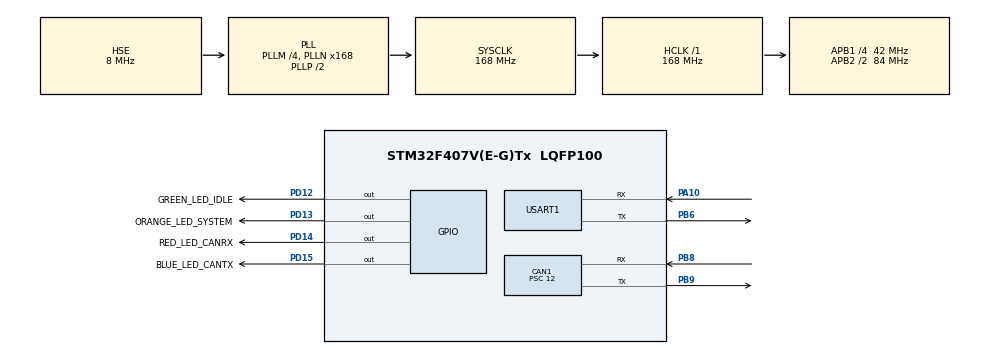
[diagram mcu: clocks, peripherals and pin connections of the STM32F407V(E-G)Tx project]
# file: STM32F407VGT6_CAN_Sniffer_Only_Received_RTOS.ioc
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CAN1.BS1=CAN_BS1_11TQ
CAN1.BS2=CAN_BS2_2TQ
CAN1.CalculateBaudRate=250000
CAN1.CalculateTimeBit=4000
CAN1.CalculateTimeQuantum=285.7142857142857
CAN1.Prescaler=12
FREERTOS.INCLUDE_vTaskDelayUntil=1
FREERTOS.Tasks01=defaultTask,0,128,StartDefaultTask,Default,NULL,Dynamic,NULL,NULL
Mcu.Family=STM32F4
Mcu.Name=STM32F407V(E-G)Tx
Mcu.Package=LQFP100
NVIC.CAN1_RX0_IRQn=true\:5\:0\:false\:false\:true\:true\:true\:true\:true
NVIC.PriorityGroup=NVIC_PRIORITYGROUP_4
NVIC.TIM6_DAC_IRQn=true\:0\:0\:false\:false\:true\:false\:false\:true\:true
NVIC.TimeBase=TIM6_DAC_IRQn
NVIC.TimeBaseIP=TIM6
NVIC.USART1_IRQn=true\:5\:0\:false\:false\:true\:true\:true\:true\:true
PA10.Mode=Asynchronous
PA10.Signal=USART1_RX
PA13.Mode=Serial_Wire
PA13.Signal=SYS_JTMS-SWDIO
PA14.Mode=Serial_Wire
PA14.Signal=SYS_JTCK-SWCLK
PB6.Mode=Asynchronous
PB6.Signal=USART1_TX
PB8.Mode=CAN_Activate
PB8.Signal=CAN1_RX
PB9.Mode=CAN_Activate
PB9.Signal=CAN1_TX
PD12.GPIO_Label=GREEN_LED_IDLE
PD12.Signal=GPIO_Output
PD13.GPIO_Label=ORANGE_LED_SYSTEM
PD13.PinState=GPIO_PIN_RESET
PD13.Signal=GPIO_Output
PD14.GPIO_Label=RED_LED_CANRX
PD14.Signal=GPIO_Output
PD15.GPIO_Label=BLUE_LED_CANTX
PD15.Signal=GPIO_Output
PH0-OSC_IN.Mode=HSE-External-Oscillator
PH0-OSC_IN.Signal=RCC_OSC_IN
PH1-OSC_OUT.Mode=HSE-External-Oscillator
PH1-OSC_OUT.Signal=RCC_OSC_OUT
ProjectManager.HeapSize=0x200
ProjectManager.StackSize=0x400
ProjectManager.TargetToolchain=STM32CubeIDE
RCC.48MHZClocksFreq_Value=84000000
RCC.AHBFreq_Value=168000000
RCC.APB1CLKDivider=RCC_HCLK_DIV4
RCC.APB1Freq_Value=42000000
RCC.APB1TimFreq_Value=84000000
RCC.APB2CLKDivider=RCC_HCLK_DIV2
RCC.APB2Freq_Value=84000000
RCC.APB2TimFreq_Value=168000000
RCC.CortexFreq_Value=168000000
RCC.HCLKFreq_Value=168000000
RCC.HSE_VALUE=8000000
RCC.HSI_VALUE=16000000
RCC.LSE_VALUE=32768
RCC.PLLM=4
RCC.PLLN=168
RCC.PLLSourceVirtual=RCC_PLLSOURCE_HSE
RCC.SYSCLKFreq_VALUE=168000000
RCC.SYSCLKSource=RCC_SYSCLKSOURCE_PLLCLK
RCC.VCOOutputFreq_Value=336000000
TIM1.Period=1000
TIM1.Prescaler=83
USART1.VirtualMode=VM_ASYNC
VP_FREERTOS_VS_CMSIS_V1.Mode=CMSIS_V1
VP_SYS_VS_tim6.Mode=TIM6
VP_TIM1_VS_ClockSourceINT.Mode=Internal
board=custom

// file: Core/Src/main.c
/* USER CODE BEGIN Header */
/**
 ******************************************************************************
 * @file           : main.c
 * @brief          : Main program body
 ******************************************************************************
 * @attention
 *
 * <h2><center>&copy; Copyright (c) 2021 STMicroelectronics.
 * All rights reserved.</center></h2>
 *
 * This software component is licensed by ST under BSD 3-Clause license,
 * the "License"; You may not use this file except in compliance with the
 * License. You may obtain a copy of the License at:
 *                        opensource.org/licenses/BSD-3-Clause
 *
 ******************************************************************************
 */
/* USER CODE END Header */
#include "main.h"
#include "cmsis_os.h"

/* USER CODE BEGIN Includes */
#include "stdio.h"
#include "string.h"
#include "stdbool.h"
#include <inttypes.h>

/* USER CODE END Includes */

/* USER CODE BEGIN PTD */

typedef struct qCANMsg {
	uint8_t data[8];
	CAN_RxHeaderTypeDef header;
} CANMessage;

typedef enum {
	SNIFFER_STOPPED = 0x00, SNIFFER_ACTIVE = 0x01,
} SnifferAtivityStatus;

/* USER CODE END PTD */

/* USER CODE BEGIN PD */
#define osAnySignal 0x00
#define SIZE_RX 20
#define noWait 0
/* USER CODE END PD */

CAN_HandleTypeDef hcan1;

TIM_HandleTypeDef htim1;

UART_HandleTypeDef huart1;

osThreadId defaultTaskHandle;
/* USER CODE BEGIN PV */

osThreadId forwardDatagramTaskId;
osThreadId receivedDatagramTaskId;

osThreadId idleTaskId;

osMailQDef(canDatagramsQueue, 100, CANMessage);		// Define mail queue
osMailQId canDatagramsQueue;

// Peripherals ISR global variables

CAN_RxHeaderTypeDef rxMessageHeader;
uint8_t rxDataReceived[8];

// Sneffer activity status variable
SnifferAtivityStatus snifferAtivityStatus = SNIFFER_ACTIVE;

/* USER CODE END PV */

void SystemClock_Config(void);
static void MX_GPIO_Init(void);
static void MX_CAN1_Init(void);
static void MX_USART1_UART_Init(void);
static void MX_TIM1_Init(void);
void StartDefaultTask(void const * argument);

/* USER CODE BEGIN PFP */
void bootLEDIndicator(void);

void fordwardDatagramsThread(void const*);
void recieivedDatagramsThread(void const*);
void idleThread(void const*);

/* USER CODE END PFP */

/* USER CODE BEGIN 0 */
#define NUMBER_BLINKS 20

void bootLEDIndicator(void) {
	int blinkCounter = 0;
	while (blinkCounter < NUMBER_BLINKS) {
		HAL_GPIO_TogglePin(ORANGE_LED_SYSTEM_GPIO_Port, ORANGE_LED_SYSTEM_Pin);
		HAL_Delay(30);
		blinkCounter++;
	}
	HAL_GPIO_WritePin(ORANGE_LED_SYSTEM_GPIO_Port, ORANGE_LED_SYSTEM_Pin, GPIO_PIN_SET);
}

void setSinfferCANFilter(void) {
	/* Default filter - accept all to CAN_FIFO*/
	CAN_FilterTypeDef sFilterConfig;
	sFilterConfig.FilterBank = 0;
	sFilterConfig.FilterIdHigh = 0x00005;
	sFilterConfig.FilterBank = 0x0000;
	sFilterConfig.FilterMode = CAN_FILTERMODE_IDMASK;
	sFilterConfig.FilterScale = CAN_FILTERSCALE_32BIT;
	sFilterConfig.FilterIdHigh = 0x200 << 5;  //11-bit ID, in top bits
	sFilterConfig.FilterIdLow = 0x0000;
	sFilterConfig.FilterMaskIdHigh = 0x0000;
	sFilterConfig.FilterMaskIdLow = 0x0000;
	sFilterConfig.FilterFIFOAssignment = CAN_FILTER_FIFO0;
	sFilterConfig.FilterActivation = ENABLE;

	HAL_CAN_ConfigFilter(&hcan1, &sFilterConfig);
}

uint8_t serializeDatagram(uint8_t *pExitBuffer, CAN_RxHeaderTypeDef receivedCANHeader, uint8_t *rxData) {
    uint8_t cursor = 0;

    // TIM1의 마이크로초 값을 먼저 읽는다
    uint32_t microseconds = __HAL_TIM_GET_COUNTER(&htim1);  // TIM1 타이머 카운터 값 (마이크로초 단위)

    // 그 후 HAL_GetTick()을 사용해 밀리초 값을 읽는다
    uint32_t millis = HAL_GetTick();

    // 밀리초 값을 시/분/초로 변환
    uint32_t ms = millis % 1000;           // 밀리초 (0-999)
    uint32_t seconds = (millis / 1000) % 60;   // 초 (0-59)
    uint32_t minutes = (millis / 60000) % 60;  // 분 (0-59)
    uint32_t hours = (millis / 3600000) % 24;  // 시간 (0-23)

    // HH:MM:SS.mmm.uuu 형식으로 타임스탬프 출력
    cursor += sprintf((char*) pExitBuffer + cursor, "[%02lu:%02lu:%02lu.%03lu.%03lu] ",
                      hours, minutes, seconds, ms, microseconds);

    // CAN 식별자 출력 (확장 ID 또는 표준 ID)
    if (receivedCANHeader.IDE == CAN_ID_EXT) {
        cursor += sprintf((char*) pExitBuffer + cursor, "EXT CAN ID: 0x%" PRIx32 " ", receivedCANHeader.ExtId);
    } else {
        cursor += sprintf((char*) pExitBuffer + cursor, "STD CAN ID: 0x%" PRIx32 " ", receivedCANHeader.StdId);
    }

    // DLC (Data Length Code) 출력
    cursor += sprintf((char*) pExitBuffer + cursor, "DLC: %lu ", (unsigned long)receivedCANHeader.DLC);

    // 데이터 출력 (데이터 프레임인 경우)
    if (receivedCANHeader.RTR == CAN_RTR_DATA) {
        cursor += sprintf((char*) pExitBuffer + cursor, "Data: ");
        for (int i = 0; i < receivedCANHeader.DLC; i++) {
            cursor += sprintf((char*) pExitBuffer + cursor, "%02X ", rxData[i]);
        }
    }

    // 끝에 개행 추가
    cursor += sprintf((char*) pExitBuffer + cursor, "\r\n");

    return cursor;
}

 void HAL_CAN_RxFifo0MsgPendingCallback(CAN_HandleTypeDef *hcan) {
  	if (HAL_CAN_GetRxMessage(&hcan1, CAN_RX_FIFO0, &rxMessageHeader,rxDataReceived) == HAL_OK) {
  		if (snifferAtivityStatus == SNIFFER_ACTIVE) {
  			 // 수신된 CAN 데이터를 UART로 출력 (가능한 최소 작업만 ISR에서 수행)
  			osSignalSet(receivedDatagramTaskId, osAnySignal);

  		}
  	}
  	HAL_GPIO_TogglePin(RED_LED_CANRX_GPIO_Port,RED_LED_CANRX_Pin);

 }

/* USER CODE END 0 */

int main(void)
{

  /* MCU Configuration--------------------------------------------------------*/

  /* Reset of all peripherals, Initializes the Flash interface and the Systick. */
  HAL_Init();

  /* Configure the system clock */
  SystemClock_Config();

  /* Initialize all configured peripherals */
  MX_GPIO_Init();
  MX_CAN1_Init();
  MX_USART1_UART_Init();
  MX_TIM1_Init();
  /* USER CODE BEGIN 2 */
  setSinfferCANFilter();
  HAL_CAN_Start(&hcan1);
  HAL_CAN_ActivateNotification(&hcan1, CAN_IT_RX_FIFO0_MSG_PENDING);

  // Start TIM1 for microsecond timestamping
  HAL_TIM_Base_Start(&htim1);

	/* Code to make a state sniffer state without using a dedicated GUI app*/
//	HAL_CAN_Start(&hcan1);
//	if (HAL_CAN_ActivateNotification(&hcan1, CAN_IT_RX_FIFO0_MSG_PENDING) == HAL_OK) {
//		HAL_GPIO_TogglePin(GREEN_LED_GPIO_Port,GREEN_LED_Pin);
//	}

  /* USER CODE END 2 */

  /* USER CODE BEGIN RTOS_QUEUES */
  canDatagramsQueue = osMailCreate(osMailQ(canDatagramsQueue), NULL);
  /* USER CODE END RTOS_QUEUES */

  /* Create the thread(s) */
  /* definition and creation of defaultTask */
  osThreadDef(defaultTask, StartDefaultTask, osPriorityNormal, 0, 128);
  defaultTaskHandle = osThreadCreate(osThread(defaultTask), NULL);

  /* USER CODE BEGIN RTOS_THREADS */

  osThreadDef(forwardDatagramsTask, fordwardDatagramsThread, osPriorityNormal,0, 640);
  forwardDatagramTaskId = osThreadCreate(osThread(forwardDatagramsTask),NULL);

  osThreadDef(receiveDatagramsTask, recieivedDatagramsThread,osPriorityNormal, 0, 640);
  receivedDatagramTaskId = osThreadCreate(osThread(receiveDatagramsTask),NULL);

  osThreadDef(idleTask, idleThread, osPriorityIdle, 0, 128);
  idleTaskId = osThreadCreate(osThread(idleTask), NULL);

  bootLEDIndicator();

  /* USER CODE END RTOS_THREADS */

  /* Start scheduler */
  osKernelStart();

  /* We should never get here as control is now taken by the scheduler */
  /* Infinite loop */
	while (1) {

	}
}

void SystemClock_Config(void)
{
  RCC_OscInitTypeDef RCC_OscInitStruct = {0};
  RCC_ClkInitTypeDef RCC_ClkInitStruct = {0};

  /** Configure the main internal regulator output voltage
  */
  __HAL_RCC_PWR_CLK_ENABLE();
  __HAL_PWR_VOLTAGESCALING_CONFIG(PWR_REGULATOR_VOLTAGE_SCALE1);
  /** Initializes the RCC Oscillators according to the specified parameters
  * in the RCC_OscInitTypeDef structure.
  */
  RCC_OscInitStruct.OscillatorType = RCC_OSCILLATORTYPE_HSE;
  RCC_OscInitStruct.HSEState = RCC_HSE_ON;
  RCC_OscInitStruct.PLL.PLLState = RCC_PLL_ON;
  RCC_OscInitStruct.PLL.PLLSource = RCC_PLLSOURCE_HSE;
  RCC_OscInitStruct.PLL.PLLM = 4;
  RCC_OscInitStruct.PLL.PLLN = 168;
  RCC_OscInitStruct.PLL.PLLP = RCC_PLLP_DIV2;
  RCC_OscInitStruct.PLL.PLLQ = 4;
  if (HAL_RCC_OscConfig(&RCC_OscInitStruct) != HAL_OK)
  {
    Error_Handler();
  }
  /** Initializes the CPU, AHB and APB buses clocks
  */
  RCC_ClkInitStruct.ClockType = RCC_CLOCKTYPE_HCLK|RCC_CLOCKTYPE_SYSCLK
                              |RCC_CLOCKTYPE_PCLK1|RCC_CLOCKTYPE_PCLK2;
  RCC_ClkInitStruct.SYSCLKSource = RCC_SYSCLKSOURCE_PLLCLK;
  RCC_ClkInitStruct.AHBCLKDivider = RCC_SYSCLK_DIV1;
  RCC_ClkInitStruct.APB1CLKDivider = RCC_HCLK_DIV4;
  RCC_ClkInitStruct.APB2CLKDivider = RCC_HCLK_DIV2;

  if (HAL_RCC_ClockConfig(&RCC_ClkInitStruct, FLASH_LATENCY_5) != HAL_OK)
  {
    Error_Handler();
  }
}

static void MX_CAN1_Init(void)
{

  hcan1.Instance = CAN1;
  hcan1.Init.Prescaler = 12;
  hcan1.Init.Mode = CAN_MODE_NORMAL;
  hcan1.Init.SyncJumpWidth = CAN_SJW_1TQ;
  hcan1.Init.TimeSeg1 = CAN_BS1_11TQ;
  hcan1.Init.TimeSeg2 = CAN_BS2_2TQ;
  hcan1.Init.TimeTriggeredMode = DISABLE;
  hcan1.Init.AutoBusOff = DISABLE;
  hcan1.Init.AutoWakeUp = DISABLE;
  hcan1.Init.AutoRetransmission = DISABLE;
  hcan1.Init.ReceiveFifoLocked = DISABLE;
  hcan1.Init.TransmitFifoPriority = DISABLE;
  if (HAL_CAN_Init(&hcan1) != HAL_OK)
  {
    Error_Handler();
  }

}

static void MX_TIM1_Init(void)
{

  TIM_ClockConfigTypeDef sClockSourceConfig = {0};
  TIM_MasterConfigTypeDef sMasterConfig = {0};

  htim1.Instance = TIM1;
  htim1.Init.Prescaler = 83;
  htim1.Init.CounterMode = TIM_COUNTERMODE_UP;
  htim1.Init.Period = 1000;
  htim1.Init.ClockDivision = TIM_CLOCKDIVISION_DIV1;
  htim1.Init.RepetitionCounter = 0;
  htim1.Init.AutoReloadPreload = TIM_AUTORELOAD_PRELOAD_DISABLE;
  if (HAL_TIM_Base_Init(&htim1) != HAL_OK)
  {
    Error_Handler();
  }
  sClockSourceConfig.ClockSource = TIM_CLOCKSOURCE_INTERNAL;
  if (HAL_TIM_ConfigClockSource(&htim1, &sClockSourceConfig) != HAL_OK)
  {
    Error_Handler();
  }
  sMasterConfig.MasterOutputTrigger = TIM_TRGO_RESET;
  sMasterConfig.MasterSlaveMode = TIM_MASTERSLAVEMODE_DISABLE;
  if (HAL_TIMEx_MasterConfigSynchronization(&htim1, &sMasterConfig) != HAL_OK)
  {
    Error_Handler();
  }

}

static void MX_USART1_UART_Init(void)
{

  huart1.Instance = USART1;
  huart1.Init.BaudRate = 115200;
  huart1.Init.WordLength = UART_WORDLENGTH_8B;
  huart1.Init.StopBits = UART_STOPBITS_1;
  huart1.Init.Parity = UART_PARITY_NONE;
  huart1.Init.Mode = UART_MODE_TX_RX;
  huart1.Init.HwFlowCtl = UART_HWCONTROL_NONE;
  huart1.Init.OverSampling = UART_OVERSAMPLING_16;
  if (HAL_UART_Init(&huart1) != HAL_OK)
  {
    Error_Handler();
  }

}

static void MX_GPIO_Init(void)
{
  GPIO_InitTypeDef GPIO_InitStruct = {0};

  /* GPIO Ports Clock Enable */
  __HAL_RCC_GPIOH_CLK_ENABLE();
  __HAL_RCC_GPIOD_CLK_ENABLE();
  __HAL_RCC_GPIOA_CLK_ENABLE();
  __HAL_RCC_GPIOB_CLK_ENABLE();

  /*Configure GPIO pin Output Level */
  HAL_GPIO_WritePin(GPIOD, GREEN_LED_IDLE_Pin|ORANGE_LED_SYSTEM_Pin|RED_LED_CANRX_Pin|BLUE_LED_CANTX_Pin, GPIO_PIN_RESET);

  /*Configure GPIO pins : GREEN_LED_IDLE_Pin ORANGE_LED_SYSTEM_Pin RED_LED_CANRX_Pin BLUE_LED_CANTX_Pin */
  GPIO_InitStruct.Pin = GREEN_LED_IDLE_Pin|ORANGE_LED_SYSTEM_Pin|RED_LED_CANRX_Pin|BLUE_LED_CANTX_Pin;
  GPIO_InitStruct.Mode = GPIO_MODE_OUTPUT_PP;
  GPIO_InitStruct.Pull = GPIO_NOPULL;
  GPIO_InitStruct.Speed = GPIO_SPEED_FREQ_LOW;
  HAL_GPIO_Init(GPIOD, &GPIO_InitStruct);

}

/* USER CODE BEGIN 4 */
void recieivedDatagramsThread(void const *argument) {
	//CAN_RxHeaderTypeDef rxMessageHeader;
	//uint8_t rxDataReceived[8];
	osEvent evt;
	while (true) {
		evt = osSignalWait(osAnySignal, 1);//osWaitForever
		if (evt.status == osEventSignal) {
			CANMessage *msgToSend = osMailCAlloc(canDatagramsQueue, noWait);
			if (msgToSend != NULL) {
				 msgToSend->header = rxMessageHeader;
				 memcpy(msgToSend->data, rxDataReceived, sizeof(rxDataReceived));
				 osMailPut(canDatagramsQueue, msgToSend);
			}
			osThreadYield();
		}
		else{
			osThreadYield();
		}

	}
}

/*
void fordwardDatagramsThread(void const *argument) {
	uint8_t serializedDatagram[24] = { 0 };
	uint8_t lenSerialized;
	uint8_t encodedDatagram[24] = { 0 };
	osEvent evt;
	CANMessage *dequeuedMsg;
	while (true) {
		evt = osMailGet(canDatagramsQueue, 1);	//osWaitForever
		if (evt.status == osEventMail) {
			dequeuedMsg = evt.value.p;
			lenSerialized = serializeDatagram(serializedDatagram,dequeuedMsg->header, dequeuedMsg->data);
			cobs_encode_result result = cobs_encode(encodedDatagram, 24,serializedDatagram, lenSerialized + 1);
			if (result.status == COBS_ENCODE_OK) {
				// Append Zero byte to delimiter frame boundary
				encodedDatagram[result.out_len + 1] = 0x00;
				HAL_UART_Transmit(&huart1, encodedDatagram, result.out_len + 1,50);
				// Toggle monitoring line to indicate a successful datagrams retransmission
				memset(encodedDatagram, 0, sizeof(encodedDatagram));
			}
			osMailFree(canDatagramsQueue, dequeuedMsg);
			osThreadYield();

		}else{
			osThreadYield();
		}
	}
}
*/

void fordwardDatagramsThread(void const *argument) {
	uint8_t serializedDatagram[100] = { 0 };
	uint8_t lenSerialized;
	osEvent evt;
	CANMessage *dequeuedMsg;
	while (true) {
		evt = osMailGet(canDatagramsQueue, 1);	//osWaitForever
		if (evt.status == osEventMail) {
			dequeuedMsg = evt.value.p;
			lenSerialized = serializeDatagram(serializedDatagram,dequeuedMsg->header, dequeuedMsg->data);
			HAL_UART_Transmit(&huart1, serializedDatagram, lenSerialized,HAL_MAX_DELAY);
			HAL_GPIO_TogglePin(BLUE_LED_CANTX_GPIO_Port, BLUE_LED_CANTX_Pin);
			osMailFree(canDatagramsQueue, dequeuedMsg);
			osThreadYield();

		}else{
			osThreadYield();
		}
	}
}

void idleThread(void const *argument) {
	while (true) {
		HAL_GPIO_TogglePin(GREEN_LED_IDLE_GPIO_Port,GREEN_LED_IDLE_Pin);
		osDelay(100);
	}
}

/* USER CODE END 4 */

void StartDefaultTask(void const * argument)
{
  for(;;)
  {
    osDelay(1);
  }
}

 /**
  * @brief  Period elapsed callback in non blocking mode
  * @note   This function is called  when TIM6 interrupt took place, inside
  * HAL_TIM_IRQHandler(). It makes a direct call to HAL_IncTick() to increment
  * a global variable "uwTick" used as application time base.
  * @param  htim : TIM handle
  * @retval None
  */
void HAL_TIM_PeriodElapsedCallback(TIM_HandleTypeDef *htim)
{
  if (htim->Instance == TIM6) {
    HAL_IncTick();
  }
}

void Error_Handler(void)
{
	__disable_irq();
	while (1) {
	}
}

/************************ (C) COPYRIGHT STMicroelectronics *****END OF FILE****/
